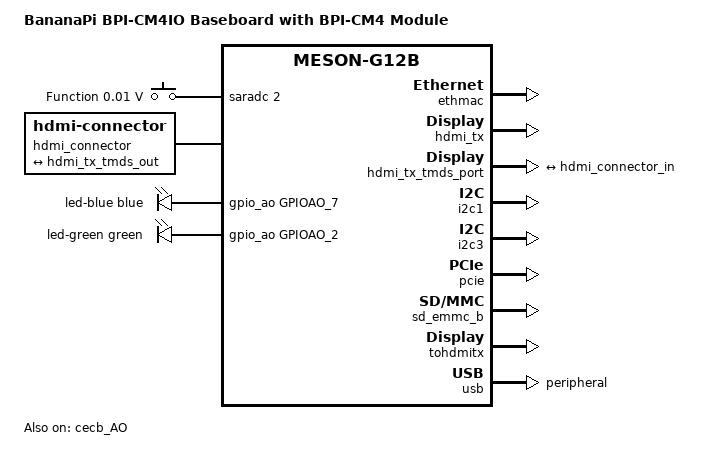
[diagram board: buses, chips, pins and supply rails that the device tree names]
// SPDX-License-Identifier: (GPL-2.0+ OR MIT)
/*
 * Copyright (c) 2023 Neil Armstrong <neil.armstrong@linaro.org>
 */

/dts-v1/;

#include "meson-g12b-bananapi-cm4.dtsi"
#include <dt-bindings/input/input.h>
#include <dt-bindings/leds/common.h>
#include <dt-bindings/sound/meson-g12a-tohdmitx.h>

/ {
	compatible = "bananapi,bpi-cm4io", "bananapi,bpi-cm4", "amlogic,a311d", "amlogic,g12b";
	model = "BananaPi BPI-CM4IO Baseboard with BPI-CM4 Module";

	aliases {
		ethernet0 = &ethmac;
		i2c0 = &i2c1;
		i2c1 = &i2c3;
	};

	adc-keys {
		compatible = "adc-keys";
		io-channels = <&saradc 2>;
		io-channel-names = "buttons";
		keyup-threshold-microvolt = <1710000>;

		button-function {
			label = "Function";
			linux,code = <KEY_FN>;
			press-threshold-microvolt = <10000>;
		};
	};

	hdmi_connector: hdmi-connector {
		compatible = "hdmi-connector";
		type = "a";

		port {
			hdmi_connector_in: endpoint {
				remote-endpoint = <&hdmi_tx_tmds_out>;
			};
		};
	};

	leds {
		compatible = "gpio-leds";

		led-blue {
			color = <LED_COLOR_ID_BLUE>;
			function = LED_FUNCTION_STATUS;
			gpios = <&gpio_ao GPIOAO_7 GPIO_ACTIVE_HIGH>;
			linux,default-trigger = "heartbeat";
		};

		led-green {
			color = <LED_COLOR_ID_GREEN>;
			function = LED_FUNCTION_STATUS;
			gpios = <&gpio_ao GPIOAO_2 GPIO_ACTIVE_HIGH>;
		};
	};

	sound {
		compatible = "amlogic,axg-sound-card";
		model = "BPI-CM4IO";
		audio-aux-devs = <&tdmout_b>;
		audio-routing = "TDMOUT_B IN 0", "FRDDR_A OUT 1",
				"TDMOUT_B IN 1", "FRDDR_B OUT 1",
				"TDMOUT_B IN 2", "FRDDR_C OUT 1",
				"TDM_B Playback", "TDMOUT_B OUT";

		assigned-clocks = <&clkc CLKID_MPLL2>,
				  <&clkc CLKID_MPLL0>,
				  <&clkc CLKID_MPLL1>;
		assigned-clock-parents = <0>, <0>, <0>;
		assigned-clock-rates = <294912000>,
				       <270950400>,
				       <393216000>;

		dai-link-0 {
			sound-dai = <&frddr_a>;
		};

		dai-link-1 {
			sound-dai = <&frddr_b>;
		};

		dai-link-2 {
			sound-dai = <&frddr_c>;
		};

		/* 8ch hdmi interface */
		dai-link-3 {
			sound-dai = <&tdmif_b>;
			dai-format = "i2s";
			dai-tdm-slot-tx-mask-0 = <1 1>;
			dai-tdm-slot-tx-mask-1 = <1 1>;
			dai-tdm-slot-tx-mask-2 = <1 1>;
			dai-tdm-slot-tx-mask-3 = <1 1>;
			mclk-fs = <256>;

			codec {
				sound-dai = <&tohdmitx TOHDMITX_I2S_IN_B>;
			};
		};

		/* hdmi glue */
		dai-link-4 {
			sound-dai = <&tohdmitx TOHDMITX_I2S_OUT>;

			codec {
				sound-dai = <&hdmi_tx>;
			};
		};
	};
};

&cecb_AO {
	status = "okay";
};

&ethmac {
	status = "okay";
};

&hdmi_tx {
	status = "okay";
};

&hdmi_tx_tmds_port {
	hdmi_tx_tmds_out: endpoint {
		remote-endpoint = <&hdmi_connector_in>;
	};
};

/* CSI port */
&i2c1 {
	status = "okay";
};

/* DSI port for touchscreen */
&i2c3 {
	status = "okay";
};

/* miniPCIe port with USB + SIM slot */
&pcie {
	status = "okay";
};

&sd_emmc_b {
	status = "okay";
};

&tohdmitx {
	status = "okay";
};

/* Peripheral Only USB-C port */
&usb {
	dr_mode = "peripheral";

	status = "okay";
};
